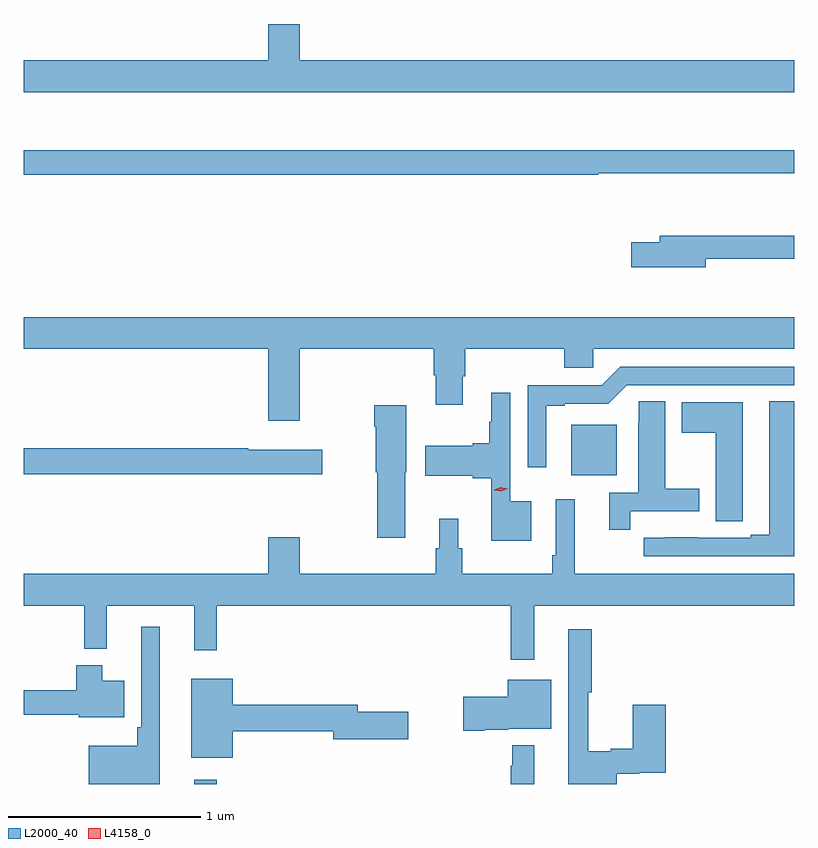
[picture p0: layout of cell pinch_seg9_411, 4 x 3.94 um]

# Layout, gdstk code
import gdstk
lib = gdstk.Library(unit=1e-6, precision=1e-09)
def R(c, l, rs):  # rectangles x0, y0, x1, y1
    for r in rs: c.add(gdstk.rectangle(r[:2], r[2:], *l))
def P(c, l, *ps):  # polygons
    for p in ps: c.add(gdstk.Polygon(p, *l))
L2000_40 = (2000, 40)
L4158_0 = (4158, 0)

pinch_seg9_411 = lib.new_cell('pinch_seg9_411')
R(pinch_seg9_411, L2000_40, [(224.564,1223.466,224.681,1223.488), (226.52,1225.067,226.756,1225.33)])
P(pinch_seg9_411, L2000_40, [(227.678,1227.22),(225.112,1227.22),(225.112,1227.409),(224.948,1227.409),(224.948,1227.22),(223.678,1227.22),(223.678,1227.056),(227.678,1227.056)],
  [(226.66,1226.634),(227.678,1226.634),(227.678,1226.755),(223.678,1226.755),(223.678,1226.626),(226.66,1226.626)],
  [(227.218,1226.19),(227.678,1226.19),(227.678,1226.311),(226.979,1226.311),(226.979,1226.277),(226.83,1226.277),(226.83,1226.147),(227.218,1226.147)],
  [(225.112,1225.724),(225.806,1225.724),(225.806,1225.587),(225.818,1225.587),(225.818,1225.434),(225.958,1225.434),(225.958,1225.582),(225.971,1225.582),(225.971,1225.724),(226.484,1225.724),(226.484,1225.626),(226.635,1225.626),(226.635,1225.724),(227.678,1225.724),(227.678,1225.888),(223.678,1225.888),(223.678,1225.724),(224.948,1225.724),(224.948,1225.35),(225.112,1225.35)],
  [(226.39,1225.428),(226.486,1225.428),(226.486,1225.44),(226.713,1225.44),(226.809,1225.536),(227.678,1225.536),(227.678,1225.632),(226.773,1225.632),(226.677,1225.536),(226.293,1225.536),(226.293,1225.11),(226.39,1225.11)],
  [(226.312,1224.934),(226.203,1224.934),(226.203,1225.495),(226.106,1225.495),(226.106,1225.346),(226.095,1225.346),(226.095,1225.235),(226.01,1225.235),(226.01,1225.222),(225.762,1225.222),(225.762,1225.064),(226.01,1225.064),(226.01,1225.052),(226.106,1225.052),(226.106,1224.728),(226.312,1224.728)],
  [(227.678,1225.451),(227.546,1225.451),(227.546,1224.759),(227.45,1224.759),(227.45,1224.744),(227.174,1224.744),(227.174,1224.745),(227.008,1224.745),(227.008,1224.744),(226.896,1224.744),(226.896,1224.648),(227.678,1224.648)],
  [(226.826,1224.882),(227.185,1224.882),(227.185,1224.999),(227.008,1224.999),(227.008,1225.451),(226.869,1225.451),(226.869,1225.34),(226.868,1225.34),(226.868,1224.978),(226.718,1224.978),(226.718,1224.786),(226.826,1224.786)],
  [(227.409,1224.937),(227.41,1224.937),(227.41,1225.447),(227.093,1225.447),(227.093,1225.288),(227.27,1225.288),(227.27,1224.829),(227.409,1224.829)],
  [(225.658,1225.083),(225.664,1225.083),(225.664,1225.432),(225.499,1225.432),(225.499,1225.319),(225.506,1225.319),(225.506,1225.083),(225.512,1225.083),(225.512,1224.744),(225.658,1224.744)],
  [(225.229,1225.201),(224.844,1225.201),(224.844,1225.208),(223.678,1225.208),(223.678,1225.072),(225.229,1225.072)],
  [(226.327,1224.392),(227.678,1224.392),(227.678,1224.556),(226.538,1224.556),(226.538,1224.943),(226.44,1224.943),(226.44,1224.652),(226.42,1224.652),(226.42,1224.556),(225.953,1224.556),(225.953,1224.69),(225.934,1224.69),(225.934,1224.841),(225.836,1224.841),(225.836,1224.69),(225.817,1224.69),(225.817,1224.556),(225.112,1224.556),(225.112,1224.745),(224.948,1224.745),(224.948,1224.556),(223.678,1224.556),(223.678,1224.392),(223.993,1224.392),(223.993,1224.167),(224.111,1224.167),(224.111,1224.392),(224.564,1224.392),(224.564,1224.159),(224.681,1224.159),(224.681,1224.392),(226.206,1224.392),(226.206,1224.111),(226.327,1224.111)],
  [(224.386,1224.283),(224.289,1224.283),(224.289,1223.761),(224.269,1223.761),(224.269,1223.665),(224.016,1223.665),(224.016,1223.466),(224.386,1223.466)],
  [(226.756,1223.518),(226.872,1223.518),(226.872,1223.525),(227.009,1223.525),(227.009,1223.878),(226.838,1223.878),(226.838,1223.648),(226.724,1223.648),(226.724,1223.635),(226.609,1223.635),(226.609,1223.943),(226.627,1223.943),(226.627,1224.268),(226.505,1224.268),(226.505,1223.466),(226.756,1223.466)],
  [(224.2,1224.001),(224.086,1224.001),(224.086,1224.082),(223.952,1224.082),(223.952,1223.953),(223.678,1223.953),(223.678,1223.824),(223.964,1223.824),(223.964,1223.813),(224.2,1223.813)],
  [(224.764,1223.74),(225.284,1223.74),(225.284,1223.698),(225.673,1223.698),(225.673,1223.84),(225.412,1223.84),(225.412,1223.876),(224.764,1223.876),(224.764,1224.013),(224.549,1224.013),(224.549,1223.603),(224.764,1223.603)],
  [(226.072,1223.747),(226.194,1223.747),(226.194,1223.753),(226.417,1223.753),(226.417,1224.007),(226.19,1224.007),(226.19,1223.919),(225.96,1223.919),(225.96,1223.741),(226.072,1223.741)],
  [(226.327,1223.668),(226.213,1223.668),(226.213,1223.561),(226.206,1223.561),(226.206,1223.466),(226.327,1223.466)])
P(pinch_seg9_411, L4158_0, [(226.156,1224.985),(226.121,1224.991),(226.12,1224.991),(226.121,1224.992),(226.154,1225.005),(226.189,1224.999),(226.19,1224.999),(226.189,1224.999)])

lib.write_gds('pinch_seg9_411.gds')
